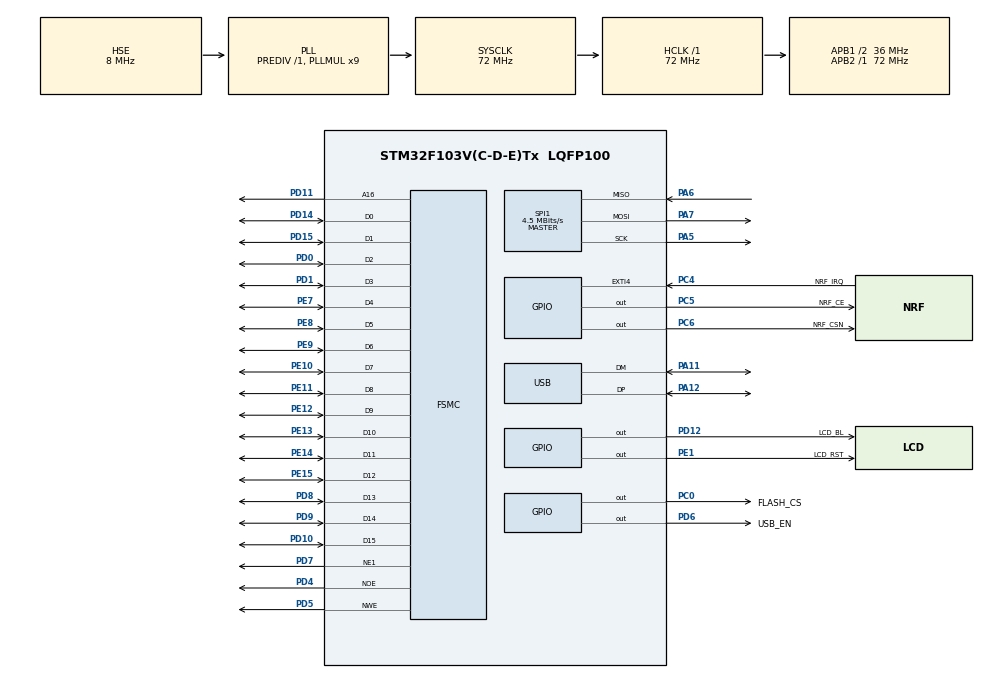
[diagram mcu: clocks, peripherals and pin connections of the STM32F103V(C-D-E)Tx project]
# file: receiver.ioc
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Mcu.Family=STM32F1
Mcu.Name=STM32F103V(C-D-E)Tx
Mcu.Package=LQFP100
NVIC.EXTI4_IRQn=true\:0\:0\:false\:false\:true\:true\:true\:true
NVIC.PriorityGroup=NVIC_PRIORITYGROUP_4
NVIC.USB_LP_CAN1_RX0_IRQn=true\:0\:0\:false\:false\:true\:false\:true\:true
OSC_IN.Mode=HSE-External-Oscillator
OSC_IN.Signal=RCC_OSC_IN
OSC_OUT.Mode=HSE-External-Oscillator
OSC_OUT.Signal=RCC_OSC_OUT
PA11.Mode=Device
PA11.Signal=USB_DM
PA12.Mode=Device
PA12.Signal=USB_DP
PA13.Mode=Serial_Wire
PA13.Signal=SYS_JTMS-SWDIO
PA14.Mode=Serial_Wire
PA14.Signal=SYS_JTCK-SWCLK
PA5.Mode=Full_Duplex_Master
PA5.Signal=SPI1_SCK
PA6.Mode=Full_Duplex_Master
PA6.Signal=SPI1_MISO
PA7.Mode=Full_Duplex_Master
PA7.Signal=SPI1_MOSI
PC0.GPIO_Label=FLASH_CS
PC0.PinState=GPIO_PIN_SET
PC0.Signal=GPIO_Output
PC4.GPIO_Label=NRF_IRQ
PC4.GPIO_ModeDefaultEXTI=GPIO_MODE_IT_FALLING
PC4.GPIO_PuPd=GPIO_PULLUP
PC4.Signal=GPXTI4
PC5.GPIO_Label=NRF_CE
PC5.Signal=GPIO_Output
PC6.GPIO_Label=NRF_CSN
PC6.PinState=GPIO_PIN_SET
PC6.Signal=GPIO_Output
PD0.Mode=16b-d1
PD0.Signal=FSMC_D2
PD1.Mode=16b-d1
PD1.Signal=FSMC_D3
PD10.Mode=16b-d1
PD10.Signal=FSMC_D15
PD11.Mode=A16_1
PD11.Signal=FSMC_A16
PD12.GPIO_Label=LCD_BL
PD12.GPIO_Speed=GPIO_SPEED_FREQ_HIGH
PD12.PinState=GPIO_PIN_SET
PD12.Signal=GPIO_Output
PD14.Mode=16b-d1
PD14.Signal=FSMC_D0
PD15.Mode=16b-d1
PD15.Signal=FSMC_D1
PD4.Mode=Lcd1
PD4.Signal=FSMC_NOE
PD5.Mode=Lcd1
PD5.Signal=FSMC_NWE
PD6.GPIO_Label=USB_EN
PD6.PinState=GPIO_PIN_SET
PD6.Signal=GPIO_Output
PD7.Mode=NorPsramChipSelect1_1
PD7.Signal=FSMC_NE1
PD8.Mode=16b-d1
PD8.Signal=FSMC_D13
PD9.Mode=16b-d1
PD9.Signal=FSMC_D14
PE1.GPIO_Label=LCD_RST
PE1.GPIO_Speed=GPIO_SPEED_FREQ_HIGH
PE1.PinState=GPIO_PIN_SET
PE1.Signal=GPIO_Output
PE10.Mode=16b-d1
PE10.Signal=FSMC_D7
PE11.Mode=16b-d1
PE11.Signal=FSMC_D8
PE12.Mode=16b-d1
PE12.Signal=FSMC_D9
PE13.Mode=16b-d1
PE13.Signal=FSMC_D10
PE14.Mode=16b-d1
PE14.Signal=FSMC_D11
PE15.Mode=16b-d1
PE15.Signal=FSMC_D12
PE7.Mode=16b-d1
PE7.Signal=FSMC_D4
PE8.Mode=16b-d1
PE8.Signal=FSMC_D5
PE9.Mode=16b-d1
PE9.Signal=FSMC_D6
ProjectManager.HeapSize=0x200
ProjectManager.StackSize=0x400
ProjectManager.TargetToolchain=CMake
RCC.AHBFreq_Value=72000000
RCC.APB1CLKDivider=RCC_HCLK_DIV2
RCC.APB1Freq_Value=36000000
RCC.APB1TimFreq_Value=72000000
RCC.APB2Freq_Value=72000000
RCC.APB2TimFreq_Value=72000000
RCC.HCLKFreq_Value=72000000
RCC.PLLMUL=RCC_PLL_MUL9
RCC.PLLSourceVirtual=RCC_PLLSOURCE_HSE
RCC.SYSCLKFreq_VALUE=72000000
RCC.SYSCLKSource=RCC_SYSCLKSOURCE_PLLCLK
RCC.USBFreq_Value=48000000
RCC.USBPrescaler=RCC_USBCLKSOURCE_PLL_DIV1_5
SPI1.BaudRatePrescaler=SPI_BAUDRATEPRESCALER_16
SPI1.CalculateBaudRate=4.5 MBits/s
SPI1.Direction=SPI_DIRECTION_2LINES
SPI1.Mode=SPI_MODE_MASTER
SPI1.VirtualType=VM_MASTER
USB_DEVICE.CLASS_NAME_FS=HID
USB_DEVICE.VirtualMode=Hid
USB_DEVICE.VirtualModeFS=Hid_FS
VP_USB_DEVICE_VS_USB_DEVICE_HID_FS.Mode=HID_FS
board=custom

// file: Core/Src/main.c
/* USER CODE BEGIN Header */
/**
  ******************************************************************************
  * @file           : main.c
  * @brief          : Main program body
  ******************************************************************************
  * @attention
  *
  * Copyright (c) 2026 STMicroelectronics.
  * All rights reserved.
  *
  * This software is licensed under terms that can be found in the LICENSE file
  * in the root directory of this software component.
  * If no LICENSE file comes with this software, it is provided AS-IS.
  *
  ******************************************************************************
  */
/* USER CODE END Header */
#include "main.h"
#include "usb_device.h"

/* USER CODE BEGIN Includes */
#include "lcd.h"
#include "nrf_motion.h"
#include "wireless_rx.h"
#include "boot_epoch.h"
#include <stdio.h>
/* USER CODE END Includes */

SPI_HandleTypeDef hspi1;

SRAM_HandleTypeDef hsram1;

void SystemClock_Config(void);
static void MX_GPIO_Init(void);
static void MX_FSMC_Init(void);
static void MX_SPI1_Init(void);

/* USER CODE BEGIN 0 */
static void DrawStatusLine(uint8_t row, const char *text)
{
  static char lines[5][30];
  for (unsigned col = 0; col < sizeof(lines[0]); ++col)
  {
    char next = *text == '\0' ? ' ' : *text++;
    if (lines[row][col] != next)
    {
      LCD_DrawChar(col * 8U, (row + 1U) * 16U, next);
      lines[row][col] = next;
    }
  }
}

static void ShowWirelessStatus(void)
{
  static uint32_t last_display;
  uint32_t now = HAL_GetTick();
  if ((uint32_t)(now - last_display) < 250U)
    return;
  last_display = now;
  WirelessRxStatus status = WirelessRx_GetStatus();
  const char *link = "nRF: waiting for mouse";
  if (status.radio_error) link = "nRF: SPI/init error";
  else if (!status.usb_ready) link = "USB: waiting for PC";
  else if (status.linked) link = "nRF HID: linked";
  else if (status.accepted != 0U) link = "nRF: link lost";
  DrawStatusLine(0, link);

  char line[40];
  if (status.user_id == WIRELESS_NO_USER)
    DrawStatusLine(1, "User: none");
  else
  {
    snprintf(line, sizeof(line), "User ID: %u", (unsigned)status.user_id);
    DrawStatusLine(1, line);
  }
  // snprintf(line, sizeof(line), "RX:%lu Dup:%lu", (unsigned long)status.accepted,
  //          (unsigned long)status.duplicates);
  // DrawStatusLine(2, line);
  // snprintf(line, sizeof(line), "Hello:%lu Reject:%lu", (unsigned long)status.hellos,
  //          (unsigned long)status.rejected);
  // DrawStatusLine(3, line);
  // snprintf(line, sizeof(line), "RF loss:%lu USB loss:%lu", (unsigned long)status.link_timeouts,
  //          (unsigned long)status.usb_disconnects);
  // DrawStatusLine(4, line);
}
/* USER CODE END 0 */

int main(void)
{

  /* MCU Configuration--------------------------------------------------------*/

  /* Reset of all peripherals, Initializes the Flash interface and the Systick. */
  HAL_Init();

  /* Configure the system clock */
  SystemClock_Config();

  /* Initialize all configured peripherals */
  MX_GPIO_Init();
  MX_FSMC_Init();
  MX_SPI1_Init();
  MX_USB_DEVICE_Init();
  /* USER CODE BEGIN 2 */
  LCD_INIT();
  LCD_DrawString(0, 0, "receiver");
  if (BootEpoch_Reserve())
    (void)NrfMotion_Init(&hspi1, NRF_MOTION_RX);
  /* USER CODE END 2 */

  /* Infinite loop */
  while (1)
  {

    /* USER CODE BEGIN 3 */
    WirelessRx_Service();
    ShowWirelessStatus();
    __WFI(); /* SysTick or a USB interrupt wakes the polling loop. */
  }
  /* USER CODE END 3 */
}

void SystemClock_Config(void)
{
  RCC_OscInitTypeDef RCC_OscInitStruct = {0};
  RCC_ClkInitTypeDef RCC_ClkInitStruct = {0};
  RCC_PeriphCLKInitTypeDef PeriphClkInit = {0};

  /** Initializes the RCC Oscillators according to the specified parameters
  * in the RCC_OscInitTypeDef structure.
  */
  RCC_OscInitStruct.OscillatorType = RCC_OSCILLATORTYPE_HSE;
  RCC_OscInitStruct.HSEState = RCC_HSE_ON;
  RCC_OscInitStruct.HSEPredivValue = RCC_HSE_PREDIV_DIV1;
  RCC_OscInitStruct.HSIState = RCC_HSI_ON;
  RCC_OscInitStruct.PLL.PLLState = RCC_PLL_ON;
  RCC_OscInitStruct.PLL.PLLSource = RCC_PLLSOURCE_HSE;
  RCC_OscInitStruct.PLL.PLLMUL = RCC_PLL_MUL9;
  if (HAL_RCC_OscConfig(&RCC_OscInitStruct) != HAL_OK)
  {
    Error_Handler();
  }

  /** Initializes the CPU, AHB and APB buses clocks
  */
  RCC_ClkInitStruct.ClockType = RCC_CLOCKTYPE_HCLK|RCC_CLOCKTYPE_SYSCLK
                              |RCC_CLOCKTYPE_PCLK1|RCC_CLOCKTYPE_PCLK2;
  RCC_ClkInitStruct.SYSCLKSource = RCC_SYSCLKSOURCE_PLLCLK;
  RCC_ClkInitStruct.AHBCLKDivider = RCC_SYSCLK_DIV1;
  RCC_ClkInitStruct.APB1CLKDivider = RCC_HCLK_DIV2;
  RCC_ClkInitStruct.APB2CLKDivider = RCC_HCLK_DIV1;

  if (HAL_RCC_ClockConfig(&RCC_ClkInitStruct, FLASH_LATENCY_2) != HAL_OK)
  {
    Error_Handler();
  }
  PeriphClkInit.PeriphClockSelection = RCC_PERIPHCLK_USB;
  PeriphClkInit.UsbClockSelection = RCC_USBCLKSOURCE_PLL_DIV1_5;
  if (HAL_RCCEx_PeriphCLKConfig(&PeriphClkInit) != HAL_OK)
  {
    Error_Handler();
  }
}

static void MX_SPI1_Init(void)
{

  /* SPI1 parameter configuration*/
  hspi1.Instance = SPI1;
  hspi1.Init.Mode = SPI_MODE_MASTER;
  hspi1.Init.Direction = SPI_DIRECTION_2LINES;
  hspi1.Init.DataSize = SPI_DATASIZE_8BIT;
  hspi1.Init.CLKPolarity = SPI_POLARITY_LOW;
  hspi1.Init.CLKPhase = SPI_PHASE_1EDGE;
  hspi1.Init.NSS = SPI_NSS_SOFT;
  hspi1.Init.BaudRatePrescaler = SPI_BAUDRATEPRESCALER_16;
  hspi1.Init.FirstBit = SPI_FIRSTBIT_MSB;
  hspi1.Init.TIMode = SPI_TIMODE_DISABLE;
  hspi1.Init.CRCCalculation = SPI_CRCCALCULATION_DISABLE;
  hspi1.Init.CRCPolynomial = 10;
  if (HAL_SPI_Init(&hspi1) != HAL_OK)
  {
    Error_Handler();
  }

}

static void MX_GPIO_Init(void)
{
  GPIO_InitTypeDef GPIO_InitStruct = {0};

  /* GPIO Ports Clock Enable */
  __HAL_RCC_GPIOA_CLK_ENABLE();
  __HAL_RCC_GPIOC_CLK_ENABLE();
  __HAL_RCC_GPIOE_CLK_ENABLE();
  __HAL_RCC_GPIOD_CLK_ENABLE();

  /*Configure GPIO pin Output Level */
  HAL_GPIO_WritePin(NRF_CE_GPIO_Port, NRF_CE_Pin, GPIO_PIN_RESET);

  /*Configure GPIO pin Output Level */
  HAL_GPIO_WritePin(GPIOD, LCD_BL_Pin|USB_EN_Pin, GPIO_PIN_SET);

  /*Configure GPIO pin Output Level */
  HAL_GPIO_WritePin(GPIOC, FLASH_CS_Pin|NRF_CSN_Pin, GPIO_PIN_SET);

  /*Configure GPIO pin Output Level */
  HAL_GPIO_WritePin(LCD_RST_GPIO_Port, LCD_RST_Pin, GPIO_PIN_SET);

  /*Configure GPIO pin : NRF_IRQ_Pin */
  GPIO_InitStruct.Pin = NRF_IRQ_Pin;
  GPIO_InitStruct.Mode = GPIO_MODE_IT_FALLING;
  GPIO_InitStruct.Pull = GPIO_PULLUP;
  HAL_GPIO_Init(NRF_IRQ_GPIO_Port, &GPIO_InitStruct);

  /*Configure GPIO pins : FLASH_CS_Pin NRF_CE_Pin NRF_CSN_Pin */
  GPIO_InitStruct.Pin = FLASH_CS_Pin|NRF_CE_Pin|NRF_CSN_Pin;
  GPIO_InitStruct.Mode = GPIO_MODE_OUTPUT_PP;
  GPIO_InitStruct.Pull = GPIO_NOPULL;
  GPIO_InitStruct.Speed = GPIO_SPEED_FREQ_LOW;
  HAL_GPIO_Init(GPIOC, &GPIO_InitStruct);

  /*Configure GPIO pin : LCD_BL_Pin */
  GPIO_InitStruct.Pin = LCD_BL_Pin;
  GPIO_InitStruct.Mode = GPIO_MODE_OUTPUT_PP;
  GPIO_InitStruct.Pull = GPIO_NOPULL;
  GPIO_InitStruct.Speed = GPIO_SPEED_FREQ_HIGH;
  HAL_GPIO_Init(LCD_BL_GPIO_Port, &GPIO_InitStruct);

  /*Configure GPIO pin : USB_EN_Pin */
  GPIO_InitStruct.Pin = USB_EN_Pin;
  GPIO_InitStruct.Mode = GPIO_MODE_OUTPUT_PP;
  GPIO_InitStruct.Pull = GPIO_NOPULL;
  GPIO_InitStruct.Speed = GPIO_SPEED_FREQ_LOW;
  HAL_GPIO_Init(USB_EN_GPIO_Port, &GPIO_InitStruct);

  /*Configure GPIO pin : LCD_RST_Pin */
  GPIO_InitStruct.Pin = LCD_RST_Pin;
  GPIO_InitStruct.Mode = GPIO_MODE_OUTPUT_PP;
  GPIO_InitStruct.Pull = GPIO_NOPULL;
  GPIO_InitStruct.Speed = GPIO_SPEED_FREQ_HIGH;
  HAL_GPIO_Init(LCD_RST_GPIO_Port, &GPIO_InitStruct);

  /* EXTI interrupt init*/
  HAL_NVIC_SetPriority(EXTI4_IRQn, 0, 0);
  HAL_NVIC_EnableIRQ(EXTI4_IRQn);

}

/* FSMC initialization function */
static void MX_FSMC_Init(void)
{

  FSMC_NORSRAM_TimingTypeDef Timing = {0};

  /** Perform the SRAM1 memory initialization sequence
  */
  hsram1.Instance = FSMC_NORSRAM_DEVICE;
  hsram1.Extended = FSMC_NORSRAM_EXTENDED_DEVICE;
  /* hsram1.Init */
  hsram1.Init.NSBank = FSMC_NORSRAM_BANK1;
  hsram1.Init.DataAddressMux = FSMC_DATA_ADDRESS_MUX_DISABLE;
  hsram1.Init.MemoryType = FSMC_MEMORY_TYPE_SRAM;
  hsram1.Init.MemoryDataWidth = FSMC_NORSRAM_MEM_BUS_WIDTH_16;
  hsram1.Init.BurstAccessMode = FSMC_BURST_ACCESS_MODE_DISABLE;
  hsram1.Init.WaitSignalPolarity = FSMC_WAIT_SIGNAL_POLARITY_LOW;
  hsram1.Init.WrapMode = FSMC_WRAP_MODE_DISABLE;
  hsram1.Init.WaitSignalActive = FSMC_WAIT_TIMING_BEFORE_WS;
  hsram1.Init.WriteOperation = FSMC_WRITE_OPERATION_ENABLE;
  hsram1.Init.WaitSignal = FSMC_WAIT_SIGNAL_DISABLE;
  hsram1.Init.ExtendedMode = FSMC_EXTENDED_MODE_DISABLE;
  hsram1.Init.AsynchronousWait = FSMC_ASYNCHRONOUS_WAIT_DISABLE;
  hsram1.Init.WriteBurst = FSMC_WRITE_BURST_DISABLE;
  /* Timing */
  Timing.AddressSetupTime = 15;
  Timing.AddressHoldTime = 15;
  Timing.DataSetupTime = 255;
  Timing.BusTurnAroundDuration = 15;
  Timing.CLKDivision = 16;
  Timing.DataLatency = 17;
  Timing.AccessMode = FSMC_ACCESS_MODE_A;
  /* ExtTiming */

  if (HAL_SRAM_Init(&hsram1, &Timing, NULL) != HAL_OK)
  {
    Error_Handler( );
  }

  /** Disconnect NADV
  */

  __HAL_AFIO_FSMCNADV_DISCONNECTED();

}

void Error_Handler(void)
{
  __disable_irq();
  while (1)
  {
  }
}
